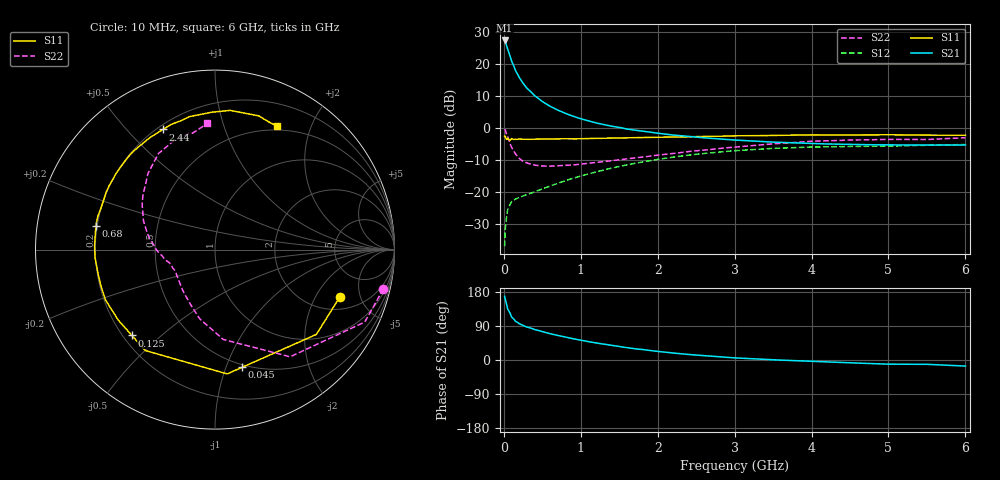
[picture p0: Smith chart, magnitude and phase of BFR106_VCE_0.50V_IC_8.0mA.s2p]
! Infineon Technologies  Discrete & RF Semiconductors
! BFR106
! VCE = 0.50 V,  IC =  8.0 mA
! Common Emitter S-Parameters:  Nov 2015
# GHz  S  MA  R  50
!  f  S11  S21  S12  S22
! GHz  MAG  ANG  MAG  ANG  MAG  ANG  MAG  ANG
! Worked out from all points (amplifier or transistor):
!   210 points, 10 MHz to 6 GHz, reference 50 ohm
!   highest |S21| = 27.4 dB at 10 MHz (marker M1)
!   |S21| within 3 dB of that: start of sweep to 54.79 MHz
!   unconditionally stable (mu >= 1): 473.8 MHz to end of sweep
!   at 185 MHz: K = 0.53, MSG = 19.2 dB, |S12| = -21.9 dB
!   at 1.52 GHz: K = 1.15, MAG = 3.7 dB, |S12| = -12.0 dB
!   at 6 GHz: K = 1.03, MAG = -1.2 dB, |S12| = -5.2 dB
!   S11 on the Smith chart (normalised r, x): 10 MHz: 2.78, -3.26; 45 MHz: 0.47, -1.14; 125 MHz: 0.24, -0.40; 680 MHz: 0.20, +0.10; 2.44 GHz: 0.22, +0.63; 6 GHz: 0.45, +1.52
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0.01  0.7441 -20.6  23.5 168.2  0.0141 81.3  0.9637 -13.1
0.02  0.7365 -39.9  22.44 158.3  0.0269 72.0  0.9269 -25.8
0.045  0.673 -77.1  17.88 139.1  0.0486 53.8  0.7464 -49.2
0.05  0.6959 -84.4  17.28 134.2  0.0532 52.0  0.7293 -55.0
0.1  0.6833 -124.6  11.27 113.5  0.0703 38.2  0.503 -84.7
0.125  0.6656 -134.1  9.589 108.9  0.0735 36.0  0.4436 -92.5
0.15  0.6669 -143.8  7.992 102.5  0.0769 33.9  0.3949 -102.5
0.2  0.6715 -155.2  6.196 95.8  0.0818 34.1  0.334 -114.2
0.24  0.667 -161.2  5.231 91.8  0.0852 34.7  0.3061 -122.1
0.3  0.6652 -167.9  4.201 86.9  0.0906 36.4  0.2836 -130.7
0.4  0.6701 -176.2  3.212 80.4  0.1003 40.0  0.2626 -141.2
0.5  0.6712 178.1  2.595 74.8  0.1109 42.9  0.2535 -148.2
0.68  0.6758 168.6  1.963 65.7  0.133 46.8  0.2555 -155.7
0.8  0.6786 164.3  1.691 60.3  0.1493 48.3  0.26 -160.3
1.02  0.6797 155.4  1.373 51.6  0.1795 49.6  0.2736 -166.1
1.4  0.6953 142.7  1.067 38.8  0.235 48.3  0.3075 -175.5
2.02  0.7149 124.8  0.824 22.3  0.325 41.5  0.3781 168.6
2.44  0.7297 113.4  0.732 13.9  0.3806 35.2  0.4324 157.4
3.1  0.755 98.8  0.638 4.6  0.448 24.3  0.513 140.5
4.1  0.7789 82.5  0.566 -4.5  0.5052 9.0  0.6249 118.5
5.1  0.7813 71.0  0.542 -11.1  0.5239 -2.6  0.6629 102.2
6  0.7699 63.4  0.543 -16.0  0.5517 -11.1  0.7047 93.4
